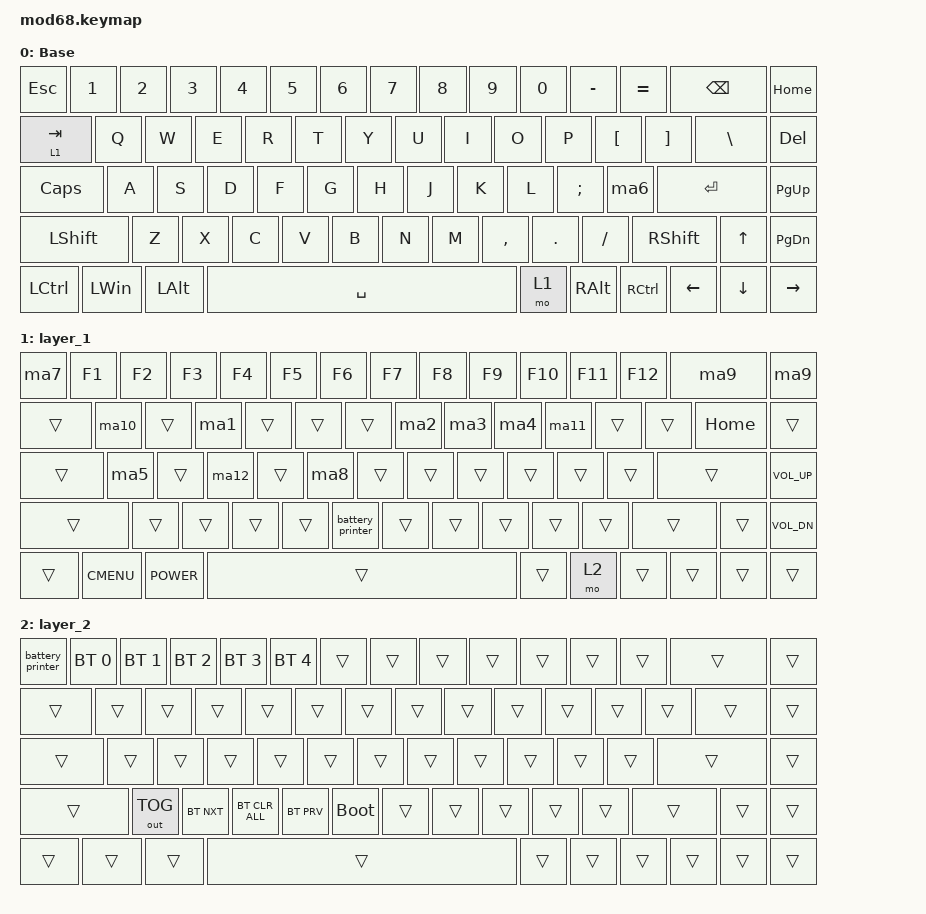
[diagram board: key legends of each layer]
#include <behaviors.dtsi>
#include <dt-bindings/zmk/bt.h>
#include <dt-bindings/zmk/keys.h>
#include <dt-bindings/zmk/outputs.h>

/ {
    macros {
        ma1: ma1 {
            compatible = "zmk,behavior-macro";
            #binding-cells = <0>;
            bindings = <&macro_tap>, <&kp GRAVE>, <&macro_tap>, <&kp E>;

            label = "MA1";
        };

        ma2: ma2 {
            compatible = "zmk,behavior-macro";
            #binding-cells = <0>;
            bindings = <&macro_tap>, <&kp GRAVE>, <&macro_tap>, <&kp U>;

            label = "MA2";
        };

        ma3: ma3 {
            compatible = "zmk,behavior-macro";
            #binding-cells = <0>;
            bindings = <&macro_tap>, <&kp GRAVE>, <&macro_tap>, <&kp I>;

            label = "MA3";
        };

        ma4: ma4 {
            compatible = "zmk,behavior-macro";
            #binding-cells = <0>;
            bindings = <&macro_tap>, <&kp GRAVE>, <&macro_tap>, <&kp O>;

            label = "MA4";
        };

        ma5: ma5 {
            compatible = "zmk,behavior-macro";
            #binding-cells = <0>;
            bindings = <&macro_tap>, <&kp GRAVE>, <&macro_tap>, <&kp A>;

            label = "MA5";
        };

        ma6: ma6 {
            compatible = "zmk,behavior-macro";
            #binding-cells = <0>;
            bindings =
                <&macro_tap>,
                <&kp SINGLE_QUOTE>,
                <&macro_tap>,
                <&kp SPACE>;

            label = "MA6";
        };

        ma7: ma7 {
            compatible = "zmk,behavior-macro";
            #binding-cells = <0>;
            bindings = <&macro_tap>, <&kp GRAVE>, <&macro_tap>, <&kp SPACE>;

            label = "MA7";
        };

        ma8: ma8 {
            compatible = "zmk,behavior-macro";
            #binding-cells = <0>;
            bindings =
                <&macro_press>,
                <&kp RIGHT_ALT>,
                <&macro_press>,
                <&kp LEFT_SHIFT>,
                <&macro_tap>,
                <&kp SEMICOLON>,
                <&macro_release>,
                <&kp LEFT_SHIFT>,
                <&macro_release>,
                <&kp RIGHT_ALT>;

            label = "MA8";
        };

        ma9: ma9 {
            compatible = "zmk,behavior-macro";
            #binding-cells = <0>;
            bindings =
                <&macro_press>,
                <&kp LEFT_WIN>,
                <&macro_press>,
                <&kp LEFT_SHIFT>,
                <&macro_tap>,
                <&kp S>,
                <&macro_release>,
                <&kp LEFT_SHIFT>,
                <&macro_release>,
                <&kp LEFT_WIN>;

            label = "MA9";
        };

        ma10: ma10 {
            compatible = "zmk,behavior-macro";
            #binding-cells = <0>;
            bindings =
                <&macro_press>,
                <&kp RIGHT_ALT>,
                <&macro_tap>,
                <&kp NUMBER_2>,
                <&macro_release>,
                <&kp RIGHT_ALT>;

            label = "MA10";
        };

        ma11: ma11 {
            compatible = "zmk,behavior-macro";
            #binding-cells = <0>;
            bindings =
                <&macro_press>,
                <&kp RIGHT_ALT>,
                <&macro_tap>,
                <&kp EQUAL>,
                <&macro_release>,
                <&kp RIGHT_ALT>;

            label = "MA11";
        };

        ma12: ma12 {
            compatible = "zmk,behavior-macro";
            #binding-cells = <0>;
            bindings =
                <&macro_press>,
                <&kp RIGHT_ALT>,
                <&macro_press>,
                <&kp RIGHT_SHIFT>,
                <&macro_tap>,
                <&kp EQUAL>,
                <&macro_release>,
                <&kp RIGHT_SHIFT>,
                <&macro_release>,
                <&kp RIGHT_ALT>;

            label = "MA12";
        };
    };

    behaviors {
        /* Scrive "Level Bat. NN %" con la carica della batteria */

        battery_printer: battery_printer {
            compatible = "zmk,behavior-battery-printer";
            #binding-cells = <0>;
        };
    };

    keymap {
        compatible = "zmk,keymap";

        default_layer {
            display-name = "Base";
            bindings = <
&kp ESC         &kp N1        &kp N2        &kp N3  &kp N4  &kp N5     &kp N6  &kp N7  &kp N8     &kp N9         &kp N0         &kp MINUS         &kp EQUAL          &kp BACKSPACE   &kp HOME
&lt 1 TAB       &kp Q         &kp W         &kp E   &kp R   &kp T      &kp Y   &kp U   &kp I      &kp O          &kp P          &kp LEFT_BRACKET  &kp RIGHT_BRACKET  &kp BACKSLASH   &kp DEL
&kp CAPSLOCK    &kp A         &kp S         &kp D   &kp F   &kp G      &kp H   &kp J   &kp K      &kp L          &kp SEMICOLON  &ma6                                 &kp ENTER       &kp PG_UP
&kp LEFT_SHIFT  &kp Z         &kp X         &kp C   &kp V   &kp B      &kp N   &kp M   &kp COMMA  &kp PERIOD     &kp SLASH      &kp RIGHT_SHIFT                      &kp UP          &kp PAGE_DOWN
&kp LCTRL       &kp LEFT_WIN  &kp LEFT_ALT                  &kp SPACE                  &mo 1      &kp RIGHT_ALT  &kp RCTRL      &kp LEFT_ARROW                       &kp DOWN_ARROW  &kp RIGHT
            >;
        };

        layer_1 {
            bindings = <
&ma7    &kp F1       &kp F2       &kp F3  &kp F4  &kp F5            &kp F6  &kp F7  &kp F8  &kp F9  &kp F10  &kp F11  &kp F12  &ma9      &ma9
&trans  &ma10        &trans       &ma1    &trans  &trans            &trans  &ma2    &ma3    &ma4    &ma11    &trans   &trans   &kp HOME  &trans
&trans  &ma5         &trans       &ma12   &trans  &ma8              &trans  &trans  &trans  &trans  &trans   &trans            &trans    &kp C_VOL_UP
&trans  &trans       &trans       &trans  &trans  &battery_printer  &trans  &trans  &trans  &trans  &trans   &trans            &trans    &kp C_VOL_DN
&trans  &kp K_CMENU  &kp K_POWER                  &trans                            &trans  &mo 2   &trans   &trans            &trans    &trans
            >;
        };

        layer_2 {
            bindings = <
&battery_printer  &bt BT_SEL 0  &bt BT_SEL 1  &bt BT_SEL 2    &bt BT_SEL 3  &bt BT_SEL 4  &trans  &trans  &trans  &trans  &trans  &trans  &trans  &trans  &trans
&trans            &trans        &trans        &trans          &trans        &trans        &trans  &trans  &trans  &trans  &trans  &trans  &trans  &trans  &trans
&trans            &trans        &trans        &trans          &trans        &trans        &trans  &trans  &trans  &trans  &trans  &trans          &trans  &trans
&trans            &out OUT_TOG  &bt BT_NXT    &bt BT_CLR_ALL  &bt BT_PRV    &bootloader   &trans  &trans  &trans  &trans  &trans  &trans          &trans  &trans
&trans            &trans        &trans                                      &trans                        &trans  &trans  &trans  &trans          &trans  &trans
            >;
        };
    };
};
